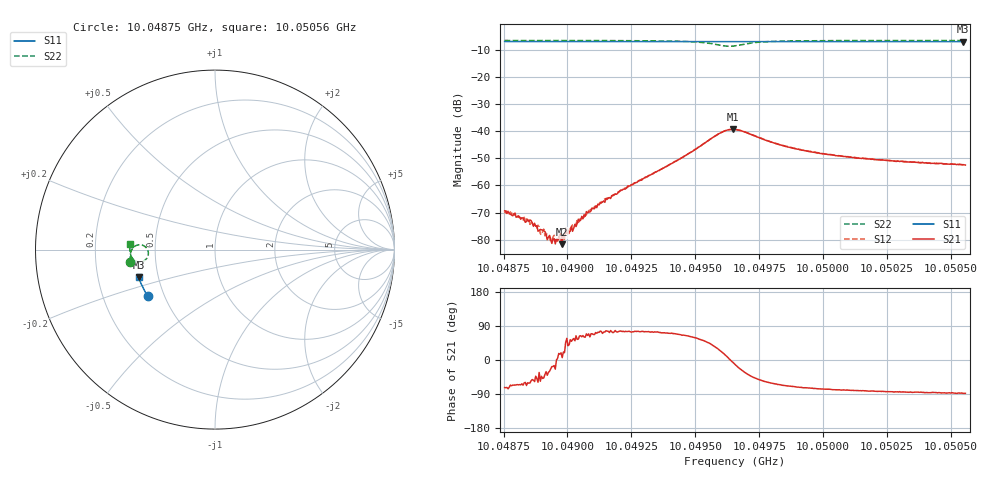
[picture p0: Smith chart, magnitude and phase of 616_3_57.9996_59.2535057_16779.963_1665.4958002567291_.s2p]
#  HZ  S  RI  R  50.00
! Rohde & Schwarz Vector Network Analyzer
! Rohde-Schwarz,ZNB20-2Port,1311601062101988,3.16
! Created: UTC 3/21/2024, 1:17:57 AM
! freq[Hz]  re:S11  im:S11  re:S21  im:S21  re:S12  im:S12  re:S22  im:S22
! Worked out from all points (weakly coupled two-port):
!   401 points, 10.04875 GHz to 10.05056 GHz, reference 50 ohm
!   highest |S21| = -39.27 dB at 10.04965 GHz (marker M1); lowest = -81.6 dB at 10.04898 GHz (marker M2)
!   lowest |S11| = -6.9 dB at 10.05055 GHz (marker M3), VSWR 2.65, Z = 19.4 - j7.46 ohm
!   |S11| at or under -10 dB: nowhere
!   |S22| runs from -8.6 to -6.4 dB; largest |S21 - S12| = 0.00081
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1.0048754e10  -0.3748 -0.259  0.000101 -0.000325  0.000122 -0.000282  -0.4715 -0.0679
1.0048786e10  -0.376 -0.2571  0.00011 -0.000253  0.000133 -0.00028  -0.4718 -0.0652
1.0048853e10  -0.3784 -0.2532  0.000114 -0.000201  0.000127 -0.000143  -0.4722 -0.06
1.0048885e10  -0.3794 -0.2515  7.45e-05 -0.000123  0.000127 -0.000134  -0.4725 -0.0575
1.0048907e10  -0.3801 -0.2503  9.84e-05 -0.000106  0.000125 -9.38e-05  -0.4724 -0.0557
1.004893e10  -0.3809 -0.2491  0.000104 -5.95e-05  0.000107 -4.17e-05  -0.4725 -0.0538
1.0048952e10  -0.3818 -0.2478  7.61e-05 -3.41e-05  9.85e-05 -6.89e-06  -0.4726 -0.0519
1.0048979e10  -0.3827 -0.2464  8.22e-05 9.04e-06  6.49e-05 3.91e-05  -0.4728 -0.0496
1.0049029e10  -0.3843 -0.2433  0.000121 0.000148  9.2e-05 0.000163  -0.4728 -0.0455
1.0049056e10  -0.3853 -0.2419  0.000129 0.000236  9.91e-05 0.00023  -0.4727 -0.0429
1.0049087e10  -0.3862 -0.2402  0.000158 0.000284  0.000126 0.000328  -0.4727 -0.0399
1.0049146e10  -0.3882 -0.2367  0.000135 0.000471  0.000103 0.000553  -0.4726 -0.0345
1.0049358e10  -0.395 -0.2245  0.000559 0.0018  0.000442 0.00182  -0.4674 -0.00846
1.0049506e10  -0.3993 -0.2156  0.00262 0.00411  0.0024 0.00423  -0.4441 0.02
1.0049592e10  -0.4013 -0.2104  0.00803 0.00417  0.00771 0.00469  -0.3926 0.0189
1.0049646e10  -0.4024 -0.2077  0.0108 -0.00116  0.0109 -0.000394  -0.3726 -0.0327
1.0049655e10  -0.4026 -0.2073  0.0106 -0.00224  0.0107 -0.00148  -0.376 -0.0421
1.0049831e10  -0.4082 -0.1974  0.00237 -0.00512  0.0027 -0.005  -0.4603 -0.048
1.0049957e10  -0.4118 -0.1897  0.00112 -0.00398  0.00136 -0.00399  -0.4707 -0.027
1.0050259e10  -0.4192 -0.1713  0.000314 -0.00287  0.000479 -0.00284  -0.4753 0.00498
1.0050547e10  -0.4254 -0.1534  7.89e-05 -0.00242  0.000214 -0.00242  -0.4749 0.0283
1.0050556e10  -0.4259 -0.153  8.43e-05 -0.00238  0.000248 -0.00241  -0.475 0.0289
